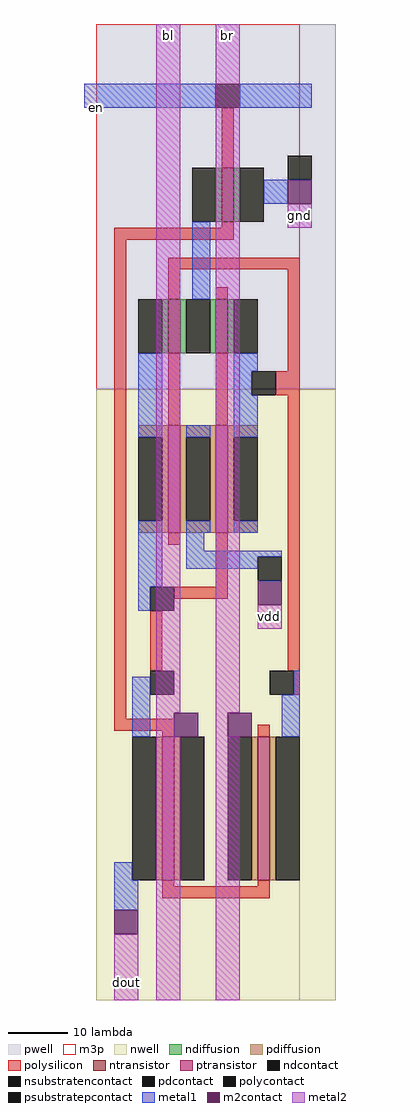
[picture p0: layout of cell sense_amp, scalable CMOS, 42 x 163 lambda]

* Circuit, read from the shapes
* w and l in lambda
.subckt sense_amp bl br dout en gnd vdd
M1 n1 n2 dout gnd nfet w=9 l=2
M2 n2 dout n1 gnd nfet w=9 l=2
M3 gnd en n1 gnd nfet w=9 l=2
M4 bl en dout vdd pfet w=24 l=2
M5 vdd n2 dout vdd pfet w=18 l=2
M6 n2 dout vdd vdd pfet w=18 l=2
M7 n2 en br vdd pfet w=24 l=2
.ends

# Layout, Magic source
magic
tech scmos
<< nwell >>
rect 0 0 40 102
<< pwell >>
rect 0 102 40 163
<< ntransistor >>
rect 21 130 23 139
rect 12 108 14 117
rect 20 108 22 117
<< ptransistor >>
rect 12 78 14 96
rect 20 78 22 96
rect 11 20 13 44
rect 27 20 29 44
<< ndiffusion >>
rect 20 130 21 139
rect 23 130 24 139
rect 11 108 12 117
rect 14 108 15 117
rect 19 108 20 117
rect 22 108 23 117
<< pdiffusion >>
rect 7 94 12 96
rect 11 80 12 94
rect 7 78 12 80
rect 14 94 20 96
rect 14 80 15 94
rect 19 80 20 94
rect 14 78 20 80
rect 22 94 27 96
rect 22 80 23 94
rect 22 78 27 80
rect 10 20 11 44
rect 13 20 14 44
rect 26 20 27 44
rect 29 20 30 44
<< ndcontact >>
rect 16 130 20 139
rect 24 130 28 139
rect 7 108 11 117
rect 15 108 19 117
rect 23 108 27 117
<< pdcontact >>
rect 7 80 11 94
rect 15 80 19 94
rect 23 80 27 94
rect 6 20 10 44
rect 14 20 18 44
rect 22 20 26 44
rect 30 20 34 44
<< psubstratepcontact >>
rect 32 137 36 141
<< nsubstratencontact >>
rect 27 70 31 74
<< polysilicon >>
rect 21 139 23 149
rect 21 129 23 130
rect 3 127 23 129
rect 3 47 5 127
rect 12 122 34 124
rect 12 117 14 122
rect 20 117 22 119
rect 12 96 14 108
rect 20 96 22 108
rect 32 105 34 122
rect 30 101 34 105
rect 12 76 14 78
rect 20 69 22 78
rect 13 67 22 69
rect 9 55 11 65
rect 32 55 34 101
rect 33 51 34 55
rect 3 45 13 47
rect 11 44 13 45
rect 27 44 29 46
rect 11 19 13 20
rect 27 19 29 20
rect 11 17 29 19
<< polycontact >>
rect 20 149 24 153
rect 26 101 30 105
rect 9 65 13 69
rect 9 51 13 55
rect 29 51 33 55
<< metal1 >>
rect -2 149 20 153
rect 24 149 36 153
rect 28 133 32 137
rect 16 117 19 130
rect 7 94 11 108
rect 23 105 27 108
rect 23 101 26 105
rect 7 69 11 80
rect 15 94 19 96
rect 15 78 19 80
rect 23 94 27 101
rect 23 78 27 80
rect 15 75 18 78
rect 15 74 31 75
rect 15 72 27 74
rect 7 65 9 69
rect 6 44 9 54
rect 33 51 34 55
rect 31 44 34 51
rect 3 20 6 23
rect 3 15 7 20
<< m2contact >>
rect 32 133 36 137
rect 27 66 31 70
rect 13 44 17 48
rect 22 44 26 48
rect 3 11 7 15
<< metal2 >>
rect 10 48 14 163
rect 20 48 24 163
rect 32 129 36 133
rect 27 62 31 66
rect 10 44 13 48
rect 20 44 22 48
rect 3 0 7 11
rect 10 0 14 44
rect 20 0 24 44
<< m3p >>
rect 0 0 34 163
<< labels >>
flabel metal1 0 149 0 149 4 FreeSans 26 0 0 0 en
rlabel metal2 34 131 34 131 1 gnd
rlabel metal2 29 64 29 64 1 vdd
rlabel metal2 12 161 12 161 5 bl
rlabel metal2 22 161 22 161 5 br
rlabel metal2 5 3 5 3 1 dout
<< properties >>
string path 270.000 468.000 270.000 486.000 288.000 486.000 288.000 468.000 270.000 468.000 
<< end >>
